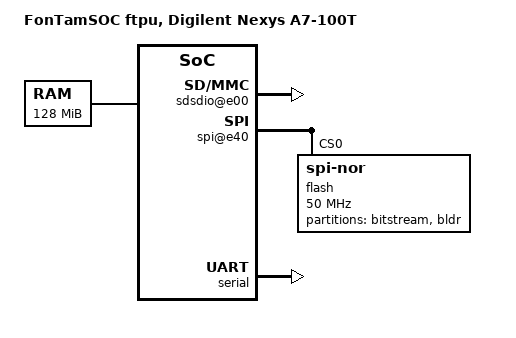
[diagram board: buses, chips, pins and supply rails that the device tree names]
// SPDX-License-Identifier: GPL-2.0-only
// 20261120 (c) William Fonkou Tambe

// FonTamSOC ftpu on the Digilent Nexys A7-100T, as rv32-nexysa7100/nexysa7100.sv
// builds it: what does not depend on CPU_COUNT. The .dts including it adds the
// cpu nodes, and their interrupt controllers to irqctrl and to the timer.
//
// No node has a clock frequency: the kernel reads the timebase from the CSR
// 0xcc0 of the CPU, and each driver reads the clock of its device from the device
// itself; the only frequency is the limit of the SPI flash.

/ {
	#address-cells = <1>;
	#size-cells = <1>;
	model = "FonTamSOC ftpu, Digilent Nexys A7-100T";
	compatible = "fontamsoc,nexysa7100";

	chosen {
		bootargs = "console=ttyS0,115200 earlycon root=/dev/sd0p4 rootfstype=ext2 rootwait ro";
		stdout-path = &serial;
	};

	aliases {
		serial0 = &serial;
	};

	// DDR2 only: the SRAM from 0x1000 to 0x41000 stays apps/bootldr's, which
	// is resident, is warm-booted by any reset, and parks there the harts
	// which the kernel has not started.
	memory@41000 {
		device_type = "memory";
		reg = <0x41000 0x8000000>;
	};

	// No timebase-frequency: the kernel reads it from the CSR 0xcc0.
	cpus {
		#address-cells = <1>;
		#size-cells = <0>;
	};

	timer: timer {
		compatible = "fontamsoc,ftpu-timer";
	};

	soc {
		#address-cells = <1>;
		#size-cells = <1>;
		compatible = "simple-bus";
		interrupt-parent = <&irqctrl>;
		ranges;

		sdsdio@e00 {
			compatible = "fontamsoc,sdio";
			reg = <0xe00 0x10>;
			interrupts = <2>;
		};

		spi@e40 {
			compatible = "fontamsoc,spi";
			reg = <0xe40 0x8>;
			interrupts = <3>;
			#address-cells = <1>;
			#size-cells = <0>;

			flash@0 {
				compatible = "jedec,spi-nor";
				reg = <0>;
				spi-max-frequency = <50000000>;

				partitions {
					compatible = "fixed-partitions";
					#address-cells = <1>;
					#size-cells = <1>;

					partition@0 {
						label = "bitstream";
						reg = <0x0 0x400000>;
						read-only;
					};

					partition@400000 {
						label = "bldr";
						reg = <0x400000 0xc00000>;
					};
				};
			};
		};

		irqctrl: interrupt-controller@f00 {
			compatible = "fontamsoc,irqctrl";
			reg = <0xf00 0x4>;
			interrupt-controller;
			#interrupt-cells = <1>;
			fontamsoc,nsources = <4>;
		};

		serial: serial@f80 {
			compatible = "fontamsoc,serial-uart";
			reg = <0xf80 0x8>;
			interrupts = <1>;
		};

		dfltdev@fffffffc {
			compatible = "fontamsoc,dfltdev";
			reg = <0xfffffffc 0x4>;
			interrupts = <0>;
		};
	};
};
